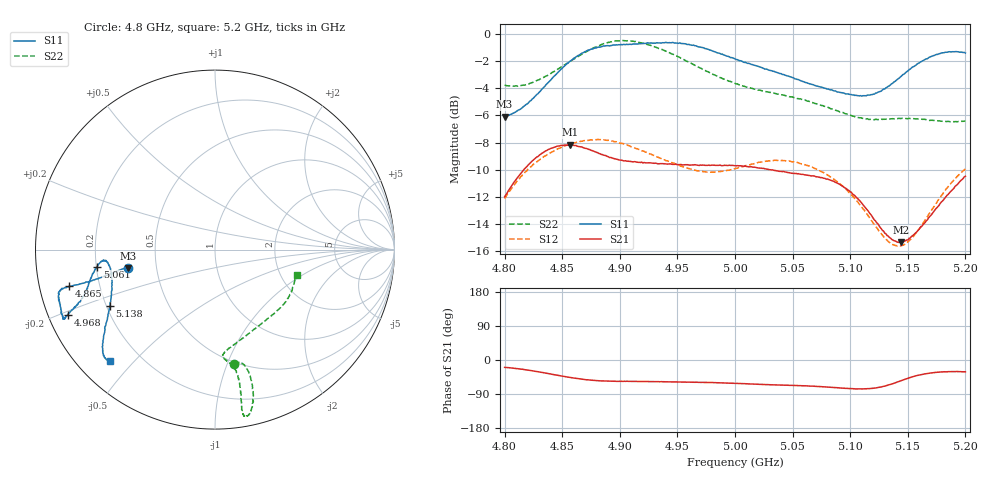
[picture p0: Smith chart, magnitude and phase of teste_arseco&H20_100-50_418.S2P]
! Network Analyzer HP8722D
! Hewlett-Packard
! Data name: Linha & Wilkinson
! Saver's name: Rodrigo Anjos
! Comments: Teste da utilização de aquisição
! continua pelo VNA HP8722D
! Time and date: 6/5/2025 16:03
!  Frequency  S11  S21  S12  S22
# HZ  S  MA R 50
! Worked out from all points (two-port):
!   401 points, 4.8 GHz to 5.2 GHz, reference 50 ohm
!   highest |S21| = -8.16 dB at 4.857 GHz (marker M1); lowest = -15.3 dB at 5.144 GHz (marker M2)
!   |S21| within 3 dB of the highest: 4.806 GHz to 5.093 GHz (286.3 MHz wide, 5.79 % of centre); 5.191842 GHz to end of sweep
!   lowest |S11| = -6.1 dB at 4.8 GHz (marker M3), VSWR 2.97, Z = 17 - j4.63 ohm
!   |S11| at or under -10 dB: nowhere
!   |S22| runs from -6.5 to -0.5 dB; largest |S21 - S12| = 0.62
!   S11 on the Smith chart (normalised r, x): 4.8 GHz: 0.34, -0.09; 4.865 GHz: 0.09, -0.12; 4.968 GHz: 0.06, -0.21; 5.061 GHz: 0.20, -0.07; 5.138 GHz: 0.21, -0.24; 5.2 GHz: 0.10, -0.43
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4.8e9  0.4961 -168.1  0.2517 -19.4  0.2481 -140.6  0.6481 -80.4
4.829e9  0.603 -166.8  0.3541 -31.0  0.341 -144.8  0.6768 -75.2
4.857e9  0.7944 -165.7  0.3909 -46.2  0.3928 -150.1  0.7921 -74.8
4.865e9  0.8365 -165.9  0.3848 -49.8  0.4015 -151.5  0.8325 -75.1
4.867e9  0.8491 -165.8  0.3841 -50.6  0.403 -151.9  0.8419 -75.3
4.88e9  0.8902 -165.4  0.3664 -54.5  0.4085 -153.9  0.8991 -76.6
4.898e9  0.9109 -162.8  0.3453 -56.2  0.3987 -156.2  0.9425 -78.8
4.913e9  0.918 -159.8  0.339 -56.6  0.3808 -156.8  0.937 -80.0
4.934e9  0.9272 -156.2  0.333 -57.3  0.3509 -155.6  0.8838 -80.4
4.968e9  0.897 -156.0  0.3286 -59.0  0.3136 -147.4  0.7558 -79.6
5e9  0.8101 -158.9  0.3277 -61.7  0.3199 -137.1  0.6579 -81.2
5.035e9  0.7245 -165.3  0.3144 -65.7  0.343 -134.2  0.6041 -85.6
5.061e9  0.663 -171.8  0.3029 -68.2  0.3296 -136.1  0.5713 -83.9
5.067e9  0.6516 -173.0  0.3005 -68.9  0.3236 -136.6  0.5594 -82.6
5.088e9  0.6144 -174.3  0.2838 -72.9  0.2877 -138.4  0.523 -74.4
5.104e9  0.594 -171.0  0.2542 -76.0  0.2478 -138.4  0.4962 -64.6
5.134e9  0.6444 -154.2  0.1786 -65.3  0.1711 -120.8  0.4865 -43.3
5.138e9  0.666 -151.7  0.1735 -61.3  0.1672 -115.8  0.487 -40.9
5.144e9  0.6974 -148.7  0.171 -54.7  0.1659 -107.7  0.4884 -37.5
5.155e9  0.7577 -143.9  0.1822 -43.6  0.1801 -94.0  0.4879 -31.9
5.174e9  0.8375 -138.3  0.2264 -32.7  0.2359 -80.2  0.4798 -23.9
5.2e9  0.851 -133.4  0.2995 -31.2  0.3185 -76.7  0.4781 -17.5
